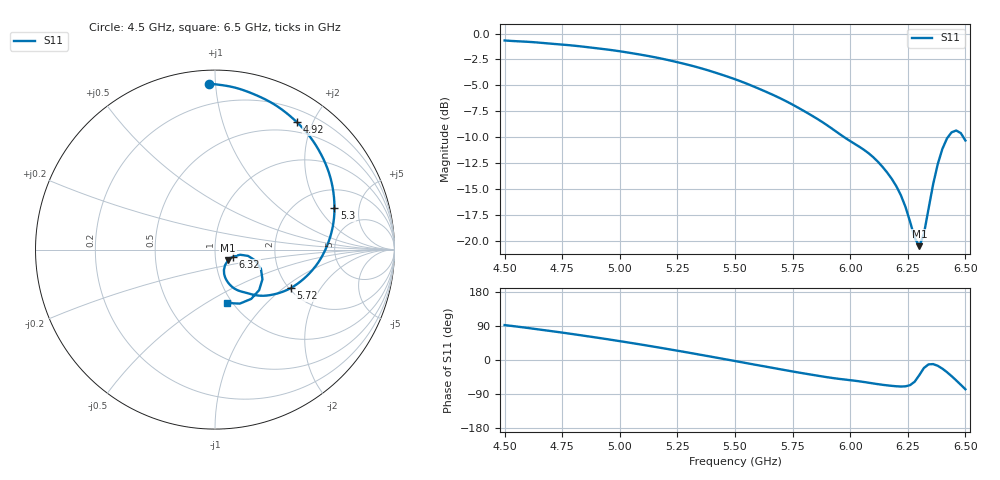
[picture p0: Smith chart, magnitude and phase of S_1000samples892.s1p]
! TOUCHSTONE file generated by CST MICROWAVE STUDIO
! Date and time: Sat Oct 29 17:29:32 2022
! Project name: L.cst
! Parameters = {Di=1.27; Epsilon_r=1.56; InnerDiameter=1.27; Length=2; Lf=10; Lg=60; OuterConductorThickness=0.2921; OuterDiameter=3.6; Wf=3; Wp=41.2; de=1.5; df=6.8; g=0.8; gx=2.62946; gy=4.4287; h=2.34; hf=1.524; px=12.9971; py=14.307; w=9.7; wx=10.3677; wy=9.87831}
! Header version: 2018
! Port assignment regex: !\s*Touchstone port\s*([0-9]+)\s*=\s*(CST MWS port|CST DS port)\s*([0-9]+|Zmin|Zmax)\s*\(\"(.*)\"\)(\s*mode\s*([0-9]+))?.*
! Touchstone port assignment:
! Touchstone port 1 = CST MWS port 1 ("")
# GHz S DB R 50
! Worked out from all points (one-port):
!   101 points, 4.5 GHz to 6.5 GHz, reference 50 ohm
!   lowest |S11| = -20.5 dB at 6.3 GHz (marker M1), VSWR 1.21, Z = 57.4 - j6.99 ohm
!   |S11| at or under -10 dB: 5.974 GHz to 6.424 GHz (449.7 MHz wide, 7.25 % of centre); 6.491185 GHz to end of sweep
!   S11 on the Smith chart (normalised r, x): 4.5 GHz: 0.07, +0.96; 4.92 GHz: 0.36, +1.78; 5.3 GHz: 3.03, +2.80; 5.72 GHz: 2.04, -1.13; 6.32 GHz: 1.22, -0.10; 6.5 GHz: 0.95, -0.62
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4.5  -0.67 92.2
4.62  -0.83 82.9
4.76  -1.09 71.4
4.92  -1.47 57.3
5  -1.71 49.7
5.14  -2.24 36.0
5.26  -2.82 23.5
5.3  -3.04 19.2
5.4  -3.67 8.3
5.5  -4.41 -2.7
5.6  -5.29 -13.8
5.72  -6.51 -27.0
5.76  -6.98 -31.3
5.88  -8.55 -43.5
6  -10.37 -53.2
6.08  -11.55 -60.0
6.16  -13.39 -66.9
6.22  -15.59 -70.0
6.26  -18.15 -66.3
6.28  -19.72 -57.2
6.3  -20.51 -39.8
6.32  -19.32 -21.1
6.36  -14.53 -10.8
6.38  -12.59 -15.3
6.42  -10.12 -32.1
6.46  -9.35 -53.7
6.48  -9.60 -65.4
6.5  -10.31 -77.2
